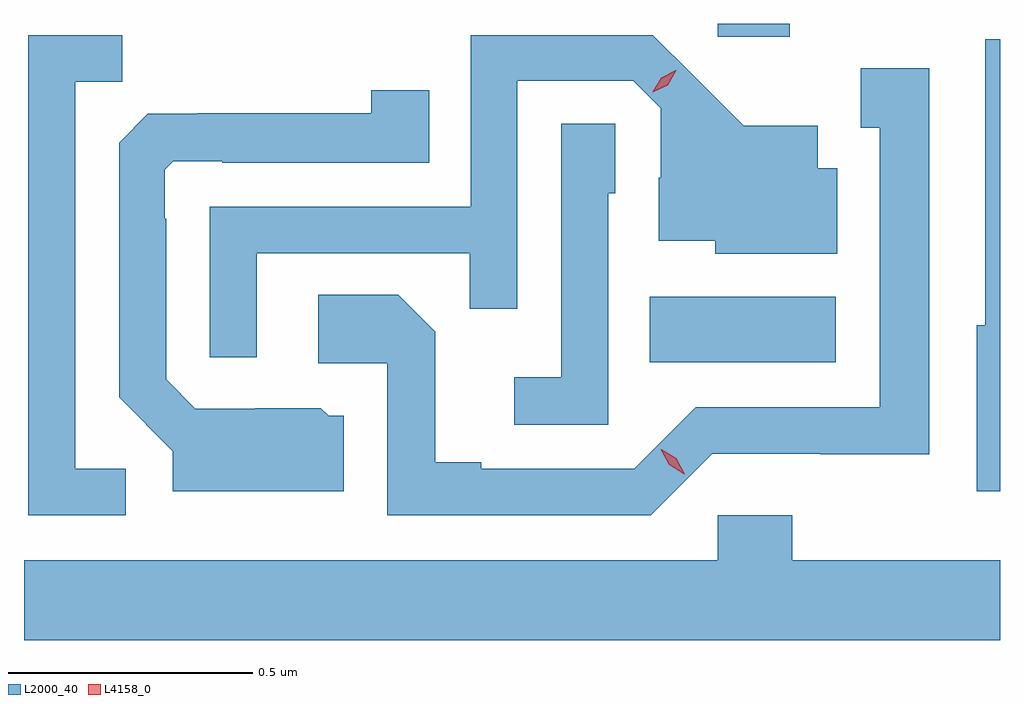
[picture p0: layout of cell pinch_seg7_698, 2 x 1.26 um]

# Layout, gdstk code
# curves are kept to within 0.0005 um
import gdstk
lib = gdstk.Library(unit=1e-6, precision=1e-09)
def R(c, l, rs):  # rectangles x0, y0, x1, y1
    for r in rs: c.add(gdstk.rectangle(r[:2], r[2:], *l))
def P(c, l, *ps):  # polygons
    for p in ps: c.add(gdstk.Polygon(p, *l))
L2000_40 = (2000, 40)
L4158_0 = (4158, 0)

pinch_seg7_698 = lib.new_cell('pinch_seg7_698')
R(pinch_seg7_698, L2000_40, [(168.448,1006.514,168.829,1006.648), (168.588,1007.181,168.735,1007.208)])
P(pinch_seg7_698, L2000_40, [(167.643,1006.737),(168.079,1006.737),(168.079,1006.624),(168.177,1006.624),(168.177,1007.091),(168.414,1007.091),(168.471,1007.034),(168.471,1006.892),(168.467,1006.892),(168.467,1006.763),(168.582,1006.763),(168.582,1006.736),(168.832,1006.736),(168.832,1006.912),(168.793,1006.912),(168.793,1006.999),(168.641,1006.999),(168.454,1007.184),(168.081,1007.184),(168.081,1006.833),(167.547,1006.833),(167.547,1006.524),(167.643,1006.524)],
  [(167.374,1006.296),(167.271,1006.296),(167.271,1007.089),(167.367,1007.089),(167.367,1007.184),(167.175,1007.184),(167.175,1006.2),(167.374,1006.2)],
  [(169.166,1007.176),(169.136,1007.176),(169.136,1006.59),(169.118,1006.59),(169.118,1006.25),(169.166,1006.25)],
  [(168.576,1006.326),(168.798,1006.326),(168.798,1006.325),(169.021,1006.325),(169.021,1007.116),(168.881,1007.116),(168.881,1006.995),(168.92,1006.995),(168.92,1006.422),(168.543,1006.422),(168.417,1006.296),(168.103,1006.296),(168.103,1006.309),(168.009,1006.309),(168.009,1006.576),(167.933,1006.652),(167.769,1006.652),(167.769,1006.512),(167.91,1006.512),(167.91,1006.2),(168.45,1006.2)],
  [(167.821,1006.404),(167.79,1006.404),(167.774,1006.42),(167.64,1006.42),(167.64,1006.419),(167.517,1006.419),(167.457,1006.479),(167.457,1006.808),(167.454,1006.808),(167.454,1006.908),(167.472,1006.926),(167.572,1006.926),(167.572,1006.923),(167.996,1006.923),(167.996,1007.071),(167.878,1007.071),(167.878,1007.024),(167.521,1007.024),(167.521,1007.023),(167.42,1007.023),(167.361,1006.964),(167.361,1006.442),(167.471,1006.332),(167.471,1006.25),(167.821,1006.25)],
  [(168.363,1006.86),(168.378,1006.86),(168.378,1007.003),(168.267,1007.003),(168.267,1006.483),(168.171,1006.483),(168.171,1006.386),(168.363,1006.386)],
  [(169.166,1006.108),(168.74,1006.108),(168.74,1006.201),(168.588,1006.201),(168.588,1006.108),(167.166,1006.108),(167.166,1005.944),(169.166,1005.944)])
P(pinch_seg7_698, L4158_0, [(168.454,1007.067),(168.454,1007.068),(168.472,1007.097),(168.502,1007.112),(168.503,1007.112),(168.503,1007.112),(168.485,1007.082),(168.454,1007.067)],
  [(168.519,1006.284),(168.488,1006.304),(168.471,1006.336),(168.471,1006.336),(168.472,1006.336),(168.503,1006.317),(168.52,1006.285),(168.52,1006.284)])

lib.write_gds('pinch_seg7_698.gds')
